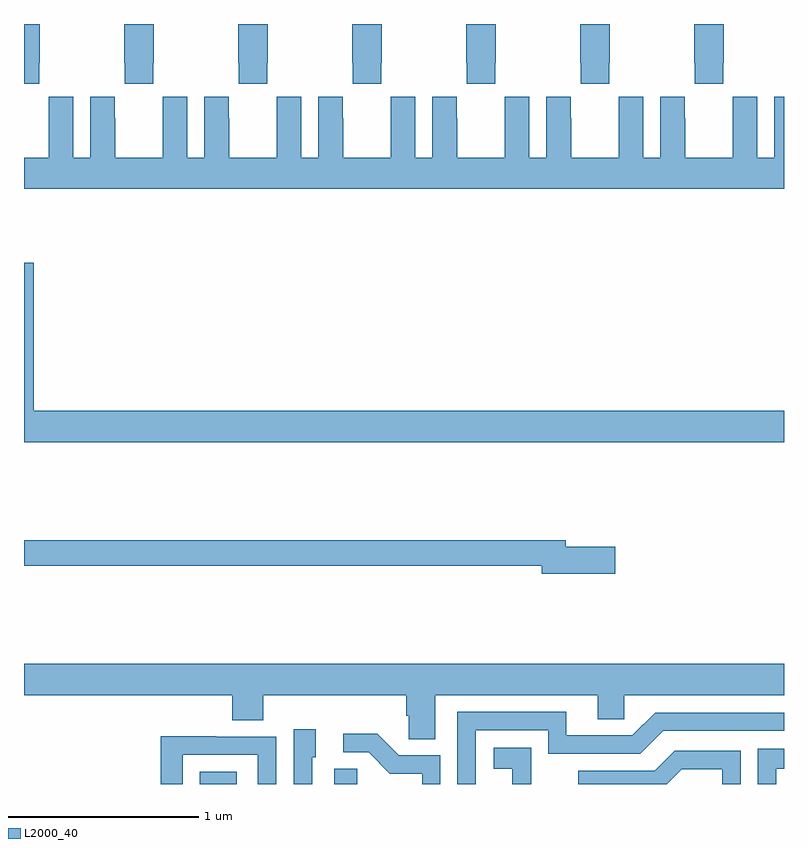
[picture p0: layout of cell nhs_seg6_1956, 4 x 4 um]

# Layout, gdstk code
import gdstk
lib = gdstk.Library(unit=1e-6, precision=1e-09)
def R(c, l, rs):  # rectangles x0, y0, x1, y1
    for r in rs: c.add(gdstk.rectangle(r[:2], r[2:], *l))
def P(c, l, *ps):  # polygons
    for p in ps: c.add(gdstk.Polygon(p, *l))
L2000_40 = (2000, 40)

nhs_seg6_1956 = lib.new_cell('nhs_seg6_1956')
R(nhs_seg6_1956, L2000_40, [(227.924,981.5,228.121,981.565), (228.632,981.5,228.753,981.581)])
P(nhs_seg6_1956, L2000_40, [(227.079,985.297),(227.082,985.297),(227.082,985.5),(227,985.5),(227,985.185),(227.079,985.185)],
  [(227.679,985.297),(227.682,985.297),(227.682,985.5),(227.527,985.5),(227.527,985.297),(227.529,985.297),(227.529,985.185),(227.679,985.185)],
  [(228.279,985.297),(228.282,985.297),(228.282,985.5),(228.127,985.5),(228.127,985.297),(228.129,985.297),(228.129,985.185),(228.279,985.185)],
  [(228.879,985.297),(228.882,985.297),(228.882,985.5),(228.727,985.5),(228.727,985.297),(228.729,985.297),(228.729,985.185),(228.879,985.185)],
  [(229.479,985.297),(229.482,985.297),(229.482,985.5),(229.327,985.5),(229.327,985.297),(229.329,985.297),(229.329,985.185),(229.479,985.185)],
  [(230.079,985.297),(230.082,985.297),(230.082,985.5),(229.927,985.5),(229.927,985.297),(229.929,985.297),(229.929,985.185),(230.079,985.185)],
  [(230.679,985.297),(230.682,985.297),(230.682,985.5),(230.527,985.5),(230.527,985.297),(230.529,985.297),(230.529,985.185),(230.679,985.185)],
  [(230.13,985.117),(230.13,985.004),(230.129,985.004),(230.129,984.796),(229.879,984.796),(229.879,985.004),(229.878,985.004),(229.878,985.117),(229.748,985.117),(229.748,984.796),(229.66,984.796),(229.66,985.117),(229.53,985.117),(229.53,985.004),(229.529,985.004),(229.529,984.796),(229.279,984.796),(229.279,985.004),(229.278,985.004),(229.278,985.117),(229.148,985.117),(229.148,984.796),(229.06,984.796),(229.06,985.117),(228.93,985.117),(228.93,985.004),(228.929,985.004),(228.929,984.796),(228.679,984.796),(228.679,985.004),(228.678,985.004),(228.678,985.117),(228.548,985.117),(228.548,984.796),(228.46,984.796),(228.46,985.117),(228.33,985.117),(228.33,985.004),(228.329,985.004),(228.329,984.796),(228.079,984.796),(228.079,985.004),(228.078,985.004),(228.078,985.117),(227.948,985.117),(227.948,984.796),(227.86,984.796),(227.86,985.117),(227.73,985.117),(227.73,985.004),(227.729,985.004),(227.729,984.796),(227.479,984.796),(227.479,985.004),(227.478,985.004),(227.478,985.117),(227.348,985.117),(227.348,984.796),(227.26,984.796),(227.26,985.117),(227.13,985.117),(227.13,985.004),(227.129,985.004),(227.129,984.796),(227,984.796),(227,984.632),(231,984.632),(231,985.117),(230.948,985.117),(230.948,984.796),(230.86,984.796),(230.86,985.117),(230.73,985.117),(230.73,985.004),(230.729,985.004),(230.729,984.796),(230.479,984.796),(230.479,985.004),(230.478,985.004),(230.478,985.117),(230.348,985.117),(230.348,984.796),(230.26,984.796),(230.26,985.117)],
  [(231,983.464),(227.051,983.464),(227.051,984.244),(227,984.244),(227,983.3),(231,983.3)],
  [(230.113,982.748),(229.852,982.748),(229.852,982.784),(227,982.784),(227,982.648),(229.724,982.648),(229.724,982.606),(230.113,982.606)],
  [(229.165,981.968),(230.021,981.968),(230.021,981.841),(230.16,981.841),(230.16,981.968),(231,981.968),(231,982.132),(227,982.132),(227,981.968),(228.095,981.968),(228.095,981.835),(228.26,981.835),(228.26,981.968),(229.013,981.968),(229.013,981.859),(229.026,981.859),(229.026,981.736),(229.165,981.736)],
  [(229.377,981.783),(229.758,981.783),(229.758,981.66),(230.244,981.66),(230.364,981.78),(231,981.78),(231,981.876),(230.322,981.876),(230.202,981.756),(229.855,981.756),(229.855,981.879),(229.281,981.879),(229.281,981.5),(229.377,981.5)],
  [(228.516,981.642),(228.535,981.642),(228.535,981.787),(228.42,981.787),(228.42,981.5),(228.516,981.5)],
  [(229.191,981.651),(228.972,981.651),(228.859,981.764),(228.681,981.764),(228.681,981.666),(228.815,981.666),(228.926,981.555),(229.095,981.555),(229.095,981.5),(229.191,981.5)],
  [(227.835,981.654),(228.231,981.654),(228.231,981.5),(228.327,981.5),(228.327,981.75),(228.011,981.75),(228.011,981.752),(227.719,981.752),(227.719,981.5),(227.835,981.5)],
  [(229.671,981.691),(229.473,981.691),(229.473,981.581),(229.571,981.581),(229.571,981.5),(229.671,981.5)],
  [(230.959,981.579),(231,981.579),(231,981.685),(230.862,981.685),(230.862,981.5),(230.959,981.5)],
  [(230.462,981.578),(230.676,981.578),(230.676,981.5),(230.772,981.5),(230.772,981.675),(230.426,981.675),(230.321,981.57),(229.918,981.57),(229.918,981.5),(230.384,981.5)])

lib.write_gds('nhs_seg6_1956.gds')
